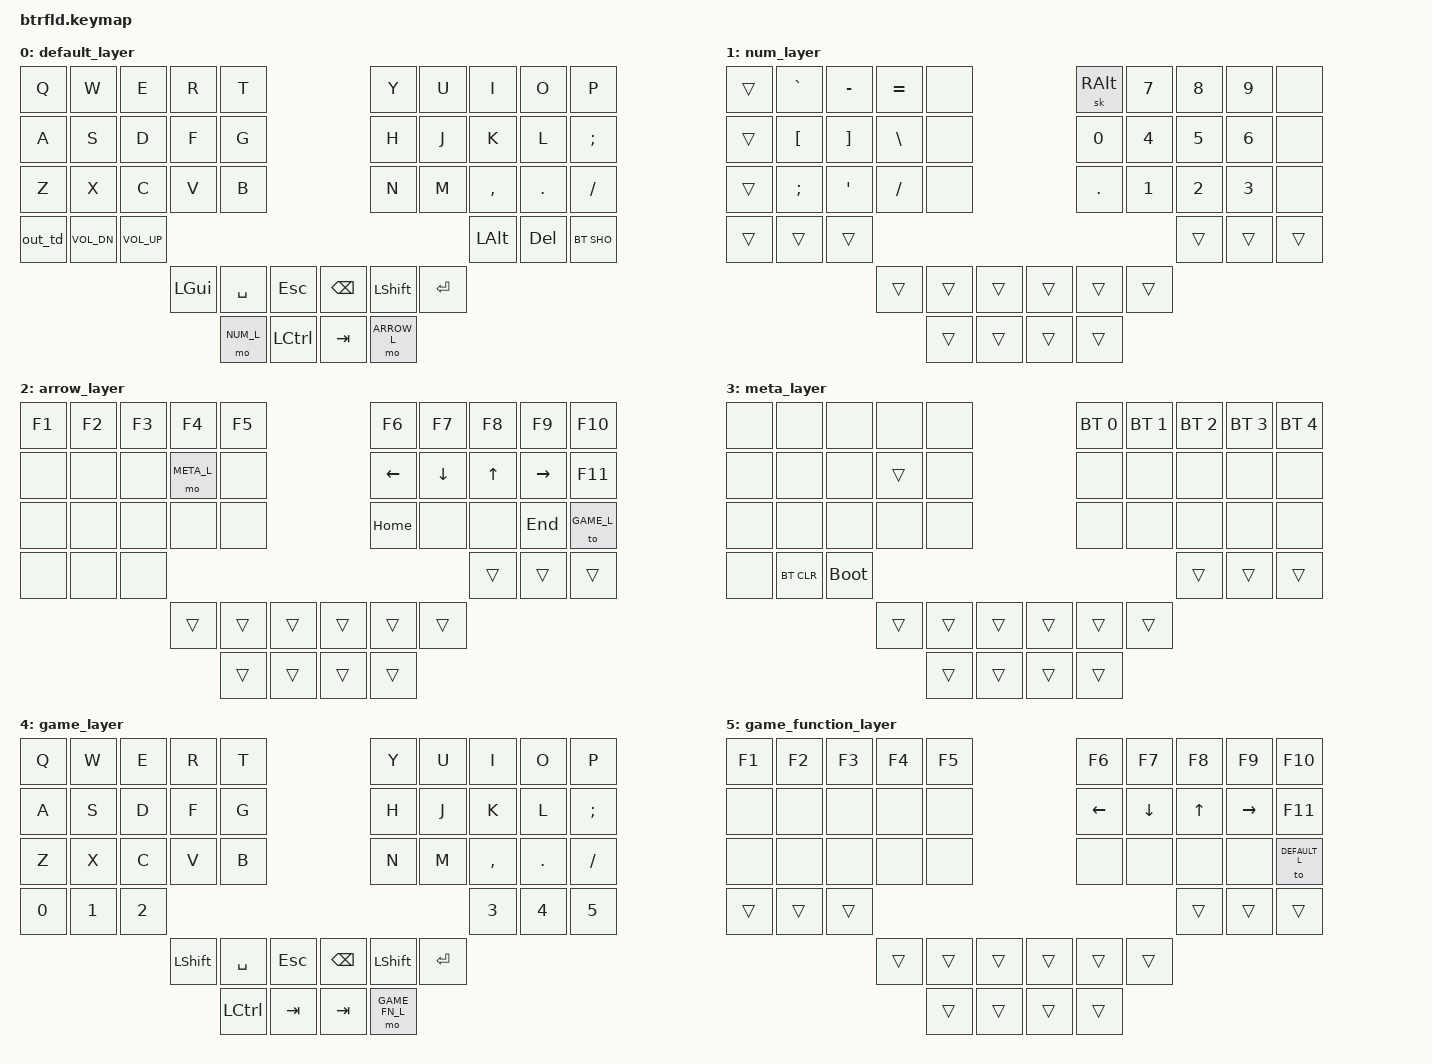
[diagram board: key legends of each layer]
#include <behaviors.dtsi>
#include <dt-bindings/zmk/keys.h>
#include <dt-bindings/zmk/bt.h>
#include <dt-bindings/zmk/outputs.h>



// go to bootloader: &bootloader
// presents key from higher layer: &trans
// no function: &none

#define DEFAULT_L  0
#define NUM_L      1
#define ARROW_L    2
#define META_L     3
#define GAME_L     4
#define GAME_FN_L 5





/ {


// switch the bt device depending on the number of taps on td0
    behaviors {
        out_td: tap_dance_0 {
            compatible = "zmk,behavior-tap-dance";
            label = "TAP_DANCE_0";
            #binding-cells = <0>;
            tapping-term-ms = <200>;
            bindings = <&out OUT_SHO>, <&out OUT_BLE>, <&out OUT_USB>;
        };
    };

    sk {
      quick-release;
      lazy;
    };

    keymap {
        compatible = "zmk,keymap";

        default_layer {
// --------------------------------------------------------------------------------------------------------------------------------------------------------------------
// |    Q    |    W    |    E    |    R    |    T    |                                          |    Y    |    U    |    I    |    O    |    P    |
// |    A    |    S    |    D    |    F    |    G    |                                          |    H    |    J    |    K    |    L    |    ;    |
// |    Z    |    X    |    C    |    V    |    B    |                                          |    N    |    M    |    ,    |    .    |    /    |
// |BT/USB td|  VOL_DN | VOL_UP  |                                                                                  |   LALT  |   DEL   |   bt sho  |
//                               |   GUI   |   SPACE | ESC     |                      |backspace| L SHIFT |  ENTER  |
//                                         |NUM_LAYER| l_ctrl  |                      |   TAB   |ARROW_LAYER|

bindings = <
      &kp Q     &kp W     &kp E     &kp R      &kp T                                               &kp Y     &kp U     &kp I     &kp O     &kp P
      &kp A     &kp S     &kp D     &kp F      &kp G                                               &kp H     &kp J     &kp K     &kp L     &kp SEMI
      &kp Z     &kp X     &kp C     &kp V      &kp B                                               &kp N     &kp M     &kp COMMA &kp DOT   &kp FSLH
    &out_td &kp C_VOL_DN &kp C_VOL_UP                                                                                   &kp LALT  &kp DEL   &bt BT_SHO
                                  &kp LGUI    &kp SPC   &kp ESC                         &kp BSPC  &kp LSHFT  &kp ENTER
                                              &mo NUM_L &kp LCTRL                       &kp TAB   &mo ARROW_L
            >;
        };

        num_layer {
bindings = <
  &trans   &kp GRAVE &kp MINUS &kp EQUAL   &none                                              &sk RALT    &kp N7    &kp N8    &kp N9     &none
  &trans   &kp LBKT  &kp RBKT   &kp BSLH   &none                                               &kp N0    &kp N4    &kp N5    &kp N6     &none
  &trans   &kp SEMI   &kp SQT   &kp FSLH   &none                                               &kp DOT   &kp N1    &kp N2    &kp N3    &none
  &trans    &trans    &trans                                                                                      &trans   &trans    &trans
                                   &trans    &trans   &trans                        &trans   &trans  &trans
                                             &trans   &trans                        &trans   &trans
            >;
        };

        arrow_layer {
bindings = <
    &kp F1   &kp F2  &kp F3   &kp F4   &kp F5                                               &kp F6     &kp F7      &kp F8    &kp F9     &kp F10
    &none    &none   &none    &mo META_L   &none                                            &kp LEFT    &kp DOWN    &kp UP    &kp RIGHT  &kp F11
    &none    &none   &none    &none   &none                                                &kp HOME    &none       &none     &kp END    &to GAME_L
    &none    &none   &none                                                                                  &trans     &trans       &trans
                                   &trans    &trans   &trans                        &trans   &trans  &trans
                                             &trans   &trans                        &trans   &trans
            >;
        };

        meta_layer {
bindings = <
    &none   &none  &none   &none   &none                                             &bt BT_SEL 0     &bt BT_SEL 1      &bt BT_SEL 2    &bt BT_SEL 3     &bt BT_SEL 4
    &none   &none  &none   &trans   &none                                            &none    &none    &none    &none  &none
    &none    &none &none    &none   &none                                           &none    &none       &none     &none    &none
    &none    &bt BT_CLR  &bootloader                                                                                  &trans     &trans       &trans
                                   &trans    &trans   &trans                        &trans   &trans  &trans
                                             &trans   &trans                        &trans   &trans
            >;
        };


        game_layer {
bindings = <
      &kp Q     &kp W     &kp E     &kp R      &kp T                                               &kp Y     &kp U     &kp I     &kp O     &kp P
      &kp A     &kp S     &kp D     &kp F      &kp G                                               &kp H     &kp J     &kp K     &kp L     &kp SEMI
      &kp Z     &kp X     &kp C     &kp V      &kp B                                               &kp N     &kp M     &kp COMMA &kp DOT   &kp FSLH
      &kp N0     &kp N1   &kp N2                                                                                       &kp N3  &kp N4      &kp N5
                                  &kp LSHFT    &kp SPC   &kp ESC                      &kp BSPC  &kp LSHFT  &kp ENTER
                                              &kp LCTRL &kp TAB                       &kp TAB   &mo GAME_FN_L
            >;
        };

        game_function_layer {
bindings = <
      &kp F1   &kp F2  &kp F3   &kp F4   &kp F5                                               &kp F6     &kp F7      &kp F8    &kp F9     &kp F10
      &none  &none  &none   &none   &none                                                &kp LEFT    &kp DOWN    &kp UP    &kp RIGHT  &kp F11
      &none     &none   &none   &none   &none                                                &none       &none       &none     &none  &to DEFAULT_L
      &trans    &trans  &trans                                                                                       &trans     &trans       &trans
                                   &trans    &trans   &trans                        &trans   &trans  &trans
                                             &trans   &trans                        &trans   &trans
            >;
        };

    };
};
